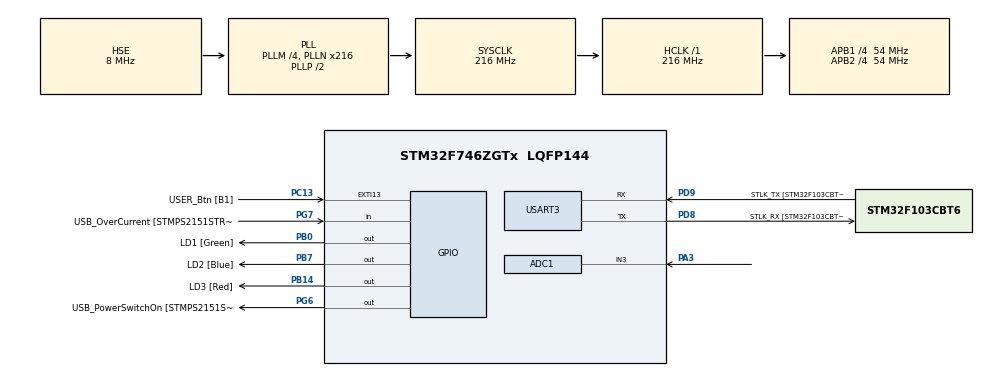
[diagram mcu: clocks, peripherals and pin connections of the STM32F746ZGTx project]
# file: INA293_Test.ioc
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ADC1.Channel-0\#ChannelRegularConversion=ADC_CHANNEL_3
ADC1.ExternalTrigConv=ADC_EXTERNALTRIGCONV_T1_TRGO
ADC1.ExternalTrigConvEdge=ADC_EXTERNALTRIGCONVEDGE_RISINGFALLING
ADC1.NbrOfConversionFlag=1
ADC1.Rank-0\#ChannelRegularConversion=1
ADC1.SamplingTime-0\#ChannelRegularConversion=ADC_SAMPLETIME_3CYCLES
ADC1.master=1
ARM.CMSIS.5.7.0.CMSISJjCORE=true
ARM.CMSIS.5.7.0.CMSISJjDSP=Library
Dma.ADC1.0.Direction=DMA_PERIPH_TO_MEMORY
Dma.ADC1.0.FIFOMode=DMA_FIFOMODE_DISABLE
Dma.ADC1.0.Instance=DMA2_Stream4
Dma.ADC1.0.MemDataAlignment=DMA_MDATAALIGN_HALFWORD
Dma.ADC1.0.MemInc=DMA_MINC_ENABLE
Dma.ADC1.0.Mode=DMA_NORMAL
Dma.ADC1.0.PeriphDataAlignment=DMA_PDATAALIGN_HALFWORD
Dma.ADC1.0.PeriphInc=DMA_PINC_DISABLE
Dma.ADC1.0.Priority=DMA_PRIORITY_LOW
Dma.Request0=ADC1
Mcu.Family=STM32F7
Mcu.Name=STM32F746ZGTx
Mcu.Package=LQFP144
NVIC.DMA2_Stream4_IRQn=true\:0\:0\:false\:false\:true\:false\:true\:true
NVIC.EXTI15_10_IRQn=true\:0\:0\:false\:false\:true\:true\:true\:true
NVIC.PriorityGroup=NVIC_PRIORITYGROUP_4
PA1.GPIO_Label=RMII_REF_CLK [LAN8742A-CZ-TR_REFCLK0]
PA1.Signal=ETH_REF_CLK
PA10.GPIO_Label=USB_ID
PA10.Signal=USB_OTG_FS_ID
PA11.GPIO_Label=USB_DM
PA11.Signal=USB_OTG_FS_DM
PA12.GPIO_Label=USB_DP
PA12.Signal=USB_OTG_FS_DP
PA13.GPIO_Label=TMS
PA13.Mode=Serial_Wire
PA13.Signal=SYS_JTMS-SWDIO
PA14.GPIO_Label=TCK
PA14.Mode=Serial_Wire
PA14.Signal=SYS_JTCK-SWCLK
PA2.GPIO_Label=RMII_MDIO [LAN8742A-CZ-TR_MDIO]
PA2.Signal=ETH_MDIO
PA3.Signal=ADCx_IN3
PA7.GPIO_Label=RMII_CRS_DV [LAN8742A-CZ-TR_CRS_DV]
PA7.Signal=ETH_CRS_DV
PA8.GPIO_Label=USB_SOF [TP1]
PA8.Signal=USB_OTG_FS_SOF
PA9.GPIO_Label=USB_VBUS
PA9.Signal=USB_OTG_FS_VBUS
PB0.GPIO_Label=LD1 [Green]
PB0.Signal=GPIO_Output
PB13.GPIO_Label=RMII_TXD1 [LAN8742A-CZ-TR_TXD1]
PB13.Signal=ETH_TXD1
PB14.GPIO_Label=LD3 [Red]
PB14.Signal=GPIO_Output
PB3.GPIO_Label=SW0
PB3.Signal=SYS_JTDO-SWO
PB7.GPIO_Label=LD2 [Blue]
PB7.Signal=GPIO_Output
PC1.GPIO_Label=RMII_MDC [LAN8742A-CZ-TR_MDC]
PC1.Signal=ETH_MDC
PC13.GPIO_Label=USER_Btn [B1]
PC13.Signal=GPXTI13
PC14/OSC32_IN.Mode=LSE-External-Oscillator
PC14/OSC32_IN.Signal=RCC_OSC32_IN
PC15/OSC32_OUT.Mode=LSE-External-Oscillator
PC15/OSC32_OUT.Signal=RCC_OSC32_OUT
PC4.GPIO_Label=RMII_RXD0 [LAN8742A-CZ-TR_RXD0]
PC4.Signal=ETH_RXD0
PC5.GPIO_Label=RMII_RXD1 [LAN8742A-CZ-TR_RXD1]
PC5.Signal=ETH_RXD1
PD8.GPIO_Label=STLK_RX [STM32F103CBT6_PA3]
PD8.GPIO_PuPd=GPIO_PULLUP
PD8.Mode=Asynchronous
PD8.Signal=USART3_TX
PD9.GPIO_Label=STLK_TX [STM32F103CBT6_PA2]
PD9.GPIO_PuPd=GPIO_PULLUP
PD9.Mode=Asynchronous
PD9.Signal=USART3_RX
PG11.GPIO_Label=RMII_TX_EN [LAN8742A-CZ-TR_TXEN]
PG11.Signal=ETH_TX_EN
PG13.GPIO_Label=RMII_TXD0 [LAN8742A-CZ-TR_TXD0]
PG13.Signal=ETH_TXD0
PG6.GPIO_Label=USB_PowerSwitchOn [STMPS2151STR_EN]
PG6.Signal=GPIO_Output
PG7.GPIO_Label=USB_OverCurrent [STMPS2151STR_FAULT]
PG7.Signal=GPIO_Input
PH0/OSC_IN.GPIO_Label=MCO [STM32F103CBT6_PA8]
PH0/OSC_IN.Mode=HSE-External-Clock-Source
PH0/OSC_IN.Signal=RCC_OSC_IN
PH1/OSC_OUT.Mode=HSE-External-Clock-Source
PH1/OSC_OUT.Signal=RCC_OSC_OUT
ProjectManager.HeapSize=0x200
ProjectManager.StackSize=0x400
ProjectManager.TargetToolchain=STM32CubeIDE
RCC.48MHZClocksFreq_Value=24000000
RCC.AHBFreq_Value=216000000
RCC.APB1CLKDivider=RCC_HCLK_DIV4
RCC.APB1Freq_Value=54000000
RCC.APB1TimFreq_Value=108000000
RCC.APB2CLKDivider=RCC_HCLK_DIV4
RCC.APB2Freq_Value=54000000
RCC.APB2TimFreq_Value=108000000
RCC.CortexFreq_Value=216000000
RCC.HCLKFreq_Value=216000000
RCC.HSE_VALUE=8000000
RCC.HSI_VALUE=16000000
RCC.PLLM=4
RCC.PLLMUL=RCC_PLL_MUL9
RCC.PLLN=216
RCC.PLLQ=3
RCC.PLLSourceVirtual=RCC_PLLSOURCE_HSE
RCC.PRESCALERUSB=RCC_USBCLKSOURCE_PLL_DIV1_5
RCC.SYSCLKFreq_VALUE=216000000
RCC.SYSCLKSource=RCC_SYSCLKSOURCE_PLLCLK
RCC.SYSCLKSourceVirtual=RCC_SYSCLKSOURCE_PLLCLK
RCC.USBFreq_Value=144000000
RCC.VCOOutputFreq_Value=432000000
SH.ADCx_IN3.0=ADC1_IN3,IN3
TIM1.Period=4
TIM1.Prescaler=107
TIM1.TIM_MasterOutputTrigger=TIM_TRGO_UPDATE
TIM1.TIM_MasterOutputTrigger2=TIM_TRGO2_UPDATE
USART3.VirtualMode-Asynchronous=VM_ASYNC
VP_ARM.CMSIS_VS_CMSISJjCORE_5.4.0_5.7.0.Mode=CMSISJjCORE
VP_ARM.CMSIS_VS_CMSISJjDSP_1.8.0_5.7.0.Mode=CMSISJjDSP
VP_TIM1_VS_ClockSourceINT.Mode=Internal
board=NUCLEO-F746ZG

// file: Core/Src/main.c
/* USER CODE BEGIN Header */
/**
  ******************************************************************************
  * @file           : main.c
  * @brief          : Main program body
  ******************************************************************************
  * @attention
  *
  * Copyright (c) 2024 STMicroelectronics.
  * All rights reserved.
  *
  * This software is licensed under terms that can be found in the LICENSE file
  * in the root directory of this software component.
  * If no LICENSE file comes with this software, it is provided AS-IS.
  *
  ******************************************************************************
  */
/* USER CODE END Header */
#include "main.h"
#include "adc.h"
#include "dma.h"
#include "tim.h"
#include "usart.h"
#include "gpio.h"

/* USER CODE BEGIN Includes */
#include "arm_math.h"
/* USER CODE END Includes */

/* USER CODE BEGIN PD */
#define ADC_BUFFER_LEN 10
/* USER CODE END PD */

/* USER CODE BEGIN PV */
uint16_t ADC_BUFFER[ADC_BUFFER_LEN];
_Bool DEBUG1;
const float CURRENT_SENSOR_GAIN = 0.5f;
float current_oversample, current;
float current_DEBUG;
/* USER CODE END PV */

void SystemClock_Config(void);

/* USER CODE BEGIN 0 */
void HAL_ADC_ConvCpltCallback(ADC_HandleTypeDef *hadc)
{
  HAL_ADC_Stop_DMA(&hadc1);

  uint32_t adc_buffer_sum = 0;

  for(uint8_t i = 0; i < ADC_BUFFER_LEN; i++)
    adc_buffer_sum += ADC_BUFFER[i];

  current_oversample = (3.3f/4095.0f/10.0f) * adc_buffer_sum * CURRENT_SENSOR_GAIN;
  current = (3.3f/4095.0f) * ADC_BUFFER[5] * CURRENT_SENSOR_GAIN;

  // TODO: Current controller logic
  // pwm_duty = PID_GetOutput(&hpid, i_ref, i_meas); // +/- 100%
  // MOTOR_WriteDuty(&hmotorA, pwm_duty);

  HAL_ADC_Start_DMA(&hadc1,(uint32_t*)ADC_BUFFER, ADC_BUFFER_LEN);
  DEBUG1 ^= 1;
}

/* USER CODE END 0 */

int main(void)
{

  /* MCU Configuration--------------------------------------------------------*/

  /* Reset of all peripherals, Initializes the Flash interface and the Systick. */
  HAL_Init();

  /* Configure the system clock */
  SystemClock_Config();

  /* Initialize all configured peripherals */
  MX_GPIO_Init();
  MX_DMA_Init();
  MX_USART3_UART_Init();
  MX_TIM1_Init();
  MX_ADC1_Init();
  /* USER CODE BEGIN 2 */
  HAL_TIM_Base_Start(&htim1);
  HAL_ADC_Start_DMA(&hadc1,(uint32_t*)ADC_BUFFER, ADC_BUFFER_LEN);
  /* USER CODE END 2 */

  /* Infinite loop */
  /* USER CODE BEGIN WHILE */
  while (1)
  {
    current_DEBUG = current_oversample;
    HAL_Delay(0);
    /* USER CODE END WHILE */

  }
}

void SystemClock_Config(void)
{
  RCC_OscInitTypeDef RCC_OscInitStruct = {0};
  RCC_ClkInitTypeDef RCC_ClkInitStruct = {0};

  /** Configure LSE Drive Capability
  */
  HAL_PWR_EnableBkUpAccess();

  /** Configure the main internal regulator output voltage
  */
  __HAL_RCC_PWR_CLK_ENABLE();
  __HAL_PWR_VOLTAGESCALING_CONFIG(PWR_REGULATOR_VOLTAGE_SCALE1);

  /** Initializes the RCC Oscillators according to the specified parameters
  * in the RCC_OscInitTypeDef structure.
  */
  RCC_OscInitStruct.OscillatorType = RCC_OSCILLATORTYPE_HSE;
  RCC_OscInitStruct.HSEState = RCC_HSE_BYPASS;
  RCC_OscInitStruct.PLL.PLLState = RCC_PLL_ON;
  RCC_OscInitStruct.PLL.PLLSource = RCC_PLLSOURCE_HSE;
  RCC_OscInitStruct.PLL.PLLM = 4;
  RCC_OscInitStruct.PLL.PLLN = 216;
  RCC_OscInitStruct.PLL.PLLP = RCC_PLLP_DIV2;
  RCC_OscInitStruct.PLL.PLLQ = 3;
  if (HAL_RCC_OscConfig(&RCC_OscInitStruct) != HAL_OK)
  {
    Error_Handler();
  }

  /** Activate the Over-Drive mode
  */
  if (HAL_PWREx_EnableOverDrive() != HAL_OK)
  {
    Error_Handler();
  }

  /** Initializes the CPU, AHB and APB buses clocks
  */
  RCC_ClkInitStruct.ClockType = RCC_CLOCKTYPE_HCLK|RCC_CLOCKTYPE_SYSCLK
                              |RCC_CLOCKTYPE_PCLK1|RCC_CLOCKTYPE_PCLK2;
  RCC_ClkInitStruct.SYSCLKSource = RCC_SYSCLKSOURCE_PLLCLK;
  RCC_ClkInitStruct.AHBCLKDivider = RCC_SYSCLK_DIV1;
  RCC_ClkInitStruct.APB1CLKDivider = RCC_HCLK_DIV4;
  RCC_ClkInitStruct.APB2CLKDivider = RCC_HCLK_DIV4;

  if (HAL_RCC_ClockConfig(&RCC_ClkInitStruct, FLASH_LATENCY_7) != HAL_OK)
  {
    Error_Handler();
  }
}

void Error_Handler(void)
{
  /* USER CODE BEGIN Error_Handler_Debug */
  /* User can add his own implementation to report the HAL error return state */
  __disable_irq();
  HAL_GPIO_WritePin(LD3_GPIO_Port, LD3_Pin, GPIO_PIN_SET);
  while (1)
  {
  }
  /* USER CODE END Error_Handler_Debug */
}
